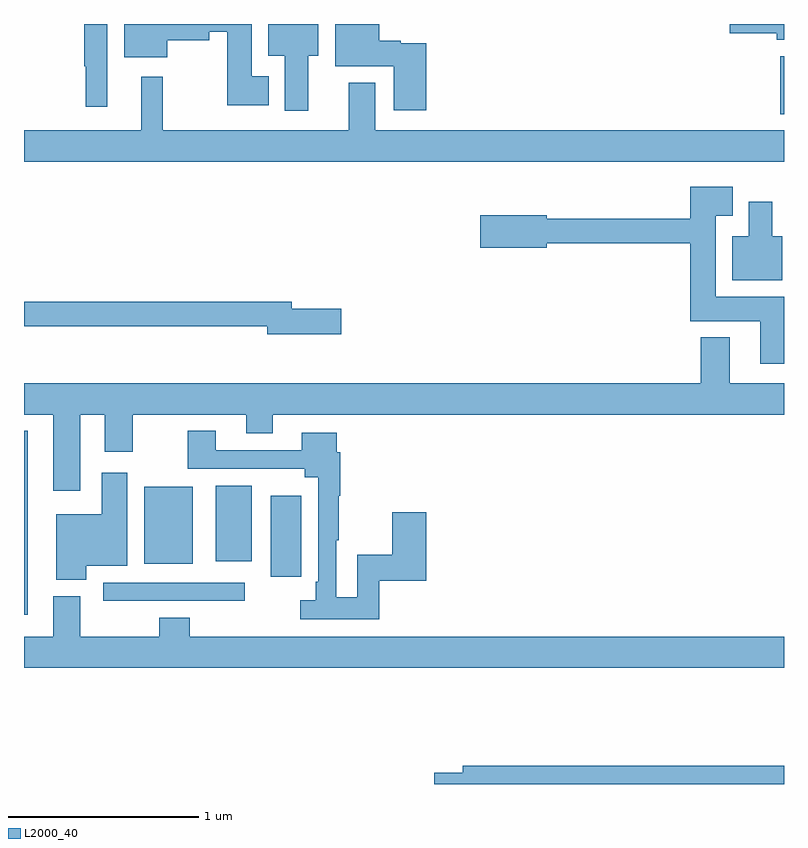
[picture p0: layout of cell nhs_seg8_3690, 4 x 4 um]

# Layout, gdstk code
import gdstk
lib = gdstk.Library(unit=1e-6, precision=1e-09)
def R(c, l, rs):  # rectangles x0, y0, x1, y1
    for r in rs: c.add(gdstk.rectangle(r[:2], r[2:], *l))
def P(c, l, *ps):  # polygons
    for p in ps: c.add(gdstk.Polygon(p, *l))
L2000_40 = (2000, 40)

nhs_seg8_3690 = lib.new_cell('nhs_seg8_3690')
R(nhs_seg8_3690, L2000_40, [(339,1104.792,339.019,1105.759), (339.417,1104.864,340.162,1104.96), (340.298,1104.99,340.459,1105.417), (339.632,1105.058,339.889,1105.465), (340.01,1105.073,340.198,1105.471), (342.979,1107.425,343,1107.729)])
P(nhs_seg8_3690, L2000_40, [(343,1107.9),(342.714,1107.9),(342.714,1107.851),(342.962,1107.851),(342.962,1107.818),(343,1107.818)],
  [(339.439,1107.9),(339.318,1107.9),(339.318,1107.677),(339.325,1107.677),(339.325,1107.465),(339.439,1107.465)],
  [(341.117,1107.799),(340.983,1107.799),(340.983,1107.812),(340.87,1107.812),(340.87,1107.9),(340.637,1107.9),(340.637,1107.677),(340.946,1107.677),(340.946,1107.447),(341.117,1107.447)],
  [(340.495,1107.734),(340.549,1107.734),(340.549,1107.9),(340.286,1107.9),(340.286,1107.734),(340.373,1107.734),(340.373,1107.444),(340.495,1107.444)],
  [(340.288,1107.625),(340.198,1107.625),(340.198,1107.9),(339.527,1107.9),(339.527,1107.725),(339.754,1107.725),(339.754,1107.814),(339.976,1107.814),(339.976,1107.86),(340.069,1107.86),(340.069,1107.473),(340.288,1107.473)],
  [(343,1107.34),(340.849,1107.34),(340.849,1107.592),(340.709,1107.592),(340.709,1107.34),(339.731,1107.34),(339.731,1107.622),(339.617,1107.622),(339.617,1107.34),(339,1107.34),(339,1107.176),(343,1107.176)],
  [(343,1106.464),(342.64,1106.464),(342.64,1106.891),(342.73,1106.891),(342.73,1107.043),(342.506,1107.043),(342.506,1106.875),(341.752,1106.875),(341.752,1106.893),(341.4,1106.893),(341.4,1106.723),(341.752,1106.723),(341.752,1106.746),(342.506,1106.746),(342.506,1106.336),(342.875,1106.336),(342.875,1106.112),(343,1106.112)],
  [(342.991,1106.782),(342.937,1106.782),(342.937,1106.965),(342.815,1106.965),(342.815,1106.782),(342.728,1106.782),(342.728,1106.552),(342.991,1106.552)],
  [(340.669,1106.402),(340.408,1106.402),(340.408,1106.438),(339,1106.438),(339,1106.31),(340.28,1106.31),(340.28,1106.267),(340.669,1106.267)],
  [(339.295,1105.844),(339.425,1105.844),(339.425,1105.65),(339.573,1105.65),(339.573,1105.844),(340.169,1105.844),(340.169,1105.745),(340.309,1105.745),(340.309,1105.844),(343,1105.844),(343,1106.008),(342.715,1106.008),(342.715,1106.251),(342.563,1106.251),(342.563,1106.008),(339,1106.008),(339,1105.844),(339.155,1105.844),(339.155,1105.443),(339.295,1105.443)],
  [(340.871,1104.97),(341.117,1104.97),(341.117,1105.33),(340.939,1105.33),(340.939,1105.106),(340.755,1105.106),(340.755,1104.884),(340.644,1104.884),(340.644,1105.183),(340.657,1105.183),(340.657,1105.418),(340.664,1105.418),(340.664,1105.646),(340.645,1105.646),(340.645,1105.75),(340.463,1105.75),(340.463,1105.656),(340.009,1105.656),(340.009,1105.759),(339.862,1105.759),(339.862,1105.56),(340.478,1105.56),(340.478,1105.514),(340.548,1105.514),(340.548,1104.964),(340.536,1104.964),(340.536,1104.868),(340.455,1104.868),(340.455,1104.768),(340.871,1104.768)],
  [(339.328,1105.049),(339.544,1105.049),(339.544,1105.537),(339.41,1105.537),(339.41,1105.321),(339.17,1105.321),(339.17,1104.974),(339.328,1104.974)],
  [(343,1104.676),(339.872,1104.676),(339.872,1104.775),(339.712,1104.775),(339.712,1104.676),(339.295,1104.676),(339.295,1104.889),(339.155,1104.889),(339.155,1104.676),(339,1104.676),(339,1104.512),(343,1104.512)],
  [(343,1103.996),(341.309,1103.996),(341.309,1103.96),(341.16,1103.96),(341.16,1103.9),(343,1103.9)])

lib.write_gds('nhs_seg8_3690.gds')
